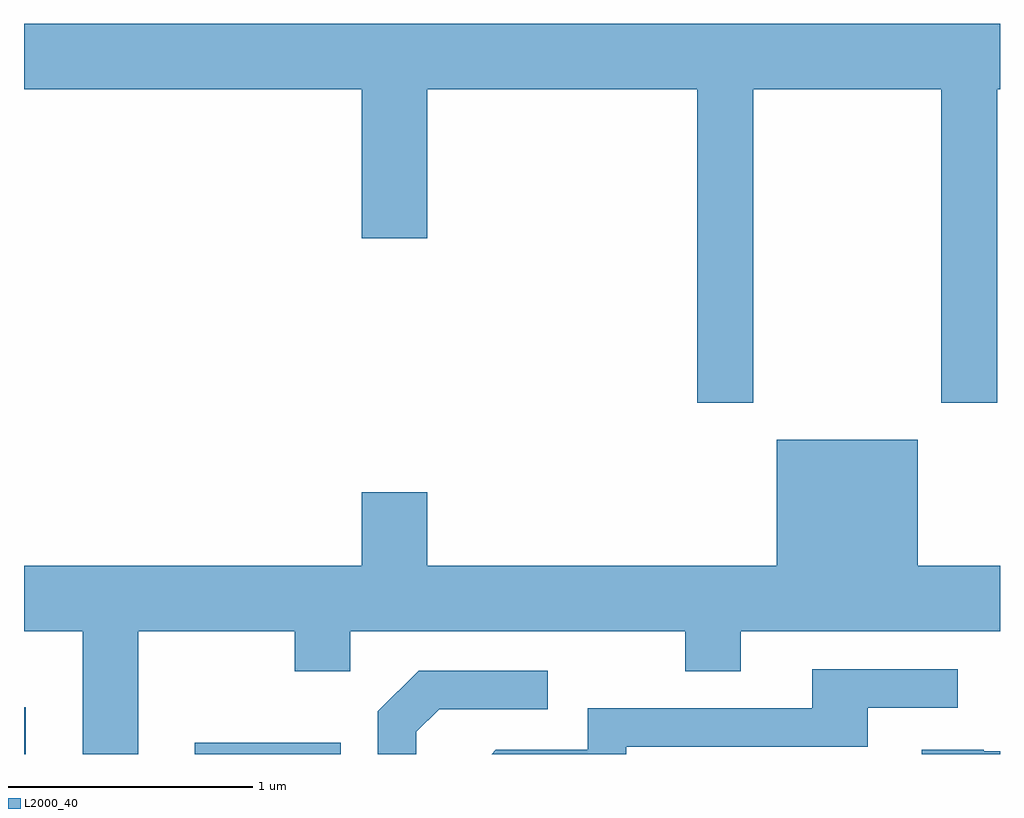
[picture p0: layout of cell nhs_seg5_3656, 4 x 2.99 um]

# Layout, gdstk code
import gdstk
lib = gdstk.Library(unit=1e-6, precision=1e-09)
def R(c, l, rs):  # rectangles x0, y0, x1, y1
    for r in rs: c.add(gdstk.rectangle(r[:2], r[2:], *l))
def P(c, l, *ps):  # polygons
    for p in ps: c.add(gdstk.Polygon(p, *l))
L2000_40 = (2000, 40)

nhs_seg5_3656 = lib.new_cell('nhs_seg5_3656')
R(nhs_seg5_3656, L2000_40, [(293.611,1454.072,293.619,1454.264), (294.311,1454.072,294.909,1454.119)])
P(nhs_seg5_3656, L2000_40, [(296.599,1456.796),(297.371,1456.796),(297.371,1455.511),(297.599,1455.511),(297.599,1456.796),(297.611,1456.796),(297.611,1457.064),(293.611,1457.064),(293.611,1456.796),(294.996,1456.796),(294.996,1456.186),(295.264,1456.186),(295.264,1456.796),(296.371,1456.796),(296.371,1455.511),(296.599,1455.511)],
  [(294.079,1454.576),(294.721,1454.576),(294.721,1454.411),(294.949,1454.411),(294.949,1454.576),(296.321,1454.576),(296.321,1454.411),(296.549,1454.411),(296.549,1454.576),(297.611,1454.576),(297.611,1454.844),(297.274,1454.844),(297.274,1455.359),(296.696,1455.359),(296.696,1454.844),(295.264,1454.844),(295.264,1455.144),(294.996,1455.144),(294.996,1454.844),(293.611,1454.844),(293.611,1454.576),(293.851,1454.576),(293.851,1454.072),(294.079,1454.072)],
  [(296.079,1454.101),(297.069,1454.101),(297.069,1454.261),(297.438,1454.261),(297.438,1454.419),(296.841,1454.419),(296.841,1454.259),(295.921,1454.259),(295.921,1454.089),(295.544,1454.089),(295.527,1454.072),(296.079,1454.072)],
  [(295.219,1454.164),(295.312,1454.256),(295.758,1454.256),(295.758,1454.414),(295.229,1454.414),(295.061,1454.247),(295.061,1454.072),(295.219,1454.072)],
  [(297.611,1454.084),(297.545,1454.084),(297.545,1454.089),(297.291,1454.089),(297.291,1454.072),(297.611,1454.072)])

lib.write_gds('nhs_seg5_3656.gds')
